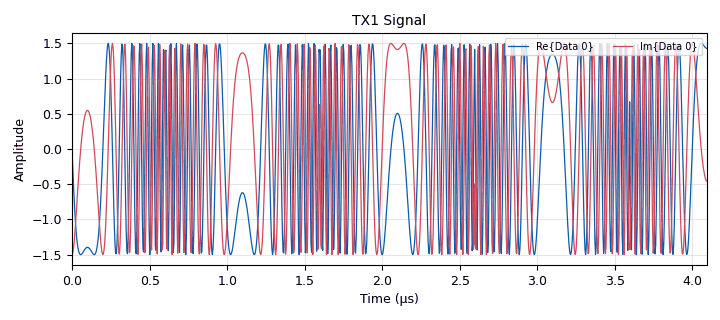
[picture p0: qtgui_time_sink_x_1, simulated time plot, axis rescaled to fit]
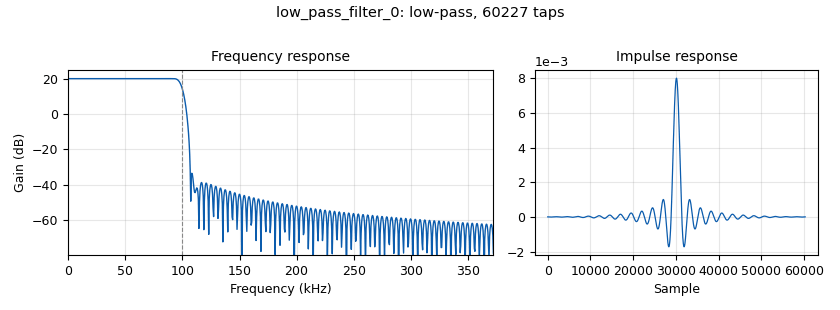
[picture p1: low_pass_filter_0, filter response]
options:
  parameters:
    author: haocheng
    generate_options: qt_gui
    id: FMCW_Sim
    output_language: python
    title: FMCW_Simulation
  states: {}

blocks:
- name: SweepTime
  id: variable
  parameters:
    comment: FMCW sweep time, frequency=1/sweeptime
    value: '1e-5'
  states: {}
- name: Sweeptime
  id: variable_qtgui_range
  parameters:
    label: Sweep Time (s)
    orient: Qt.Horizontal
    start: '1e-6'
    step: '1e-6'
    stop: '1e-2'
    value: '1e-6'
  states: {}
- name: USRP_frequency
  id: variable
  parameters:
    value: 4e9
  states: {}
- name: amplitude
  id: variable
  parameters:
    value: '1'
  states: {}
- name: bandwidth
  id: variable
  parameters:
    value: 125e6
  states: {}
- name: delay_samp
  id: variable_qtgui_range
  parameters:
    label: Delay Samples
    orient: Qt.Horizontal
    rangeType: int
    start: '0'
    step: '1'
    stop: '10000'
    value: '1000'
  states: {}
- name: rx_gain
  id: variable
  parameters:
    value: '40'
  states: {}
- name: samp_rate
  id: variable
  parameters:
    value: int(250e6)
  states: {}
- name: tx_gain
  id: variable
  parameters:
    value: '40'
  states: {}
- name: analog_sig_source_x_0
  id: analog_sig_source_x
  parameters:
    amp: amplitude
    freq: 1/Sweeptime
    offset: '-0.5'
    phase: '0'
    samp_rate: samp_rate
    type: float
    waveform: analog.GR_SAW_WAVE
  states: {}
- name: blocks_complex_to_real_0
  id: blocks_complex_to_real
  parameters: {}
  states: {state: disabled}
- name: blocks_complex_to_real_0_0
  id: blocks_complex_to_real
  parameters: {}
  states: {state: disabled}
- name: blocks_delay_0
  id: blocks_delay
  parameters:
    delay: delay_samp
    type: complex
  states: {}
- name: blocks_head_0
  id: blocks_head
  parameters:
    comment: N_head = T_capture * Fs
    num_items: int(25e6)
    type: complex
  states: {}
- name: blocks_multiply_conjugate_cc_0
  id: blocks_multiply_conjugate_cc
  parameters: {}
  states: {}
- name: blocks_multiply_xx_0
  id: blocks_multiply_xx
  parameters:
    type: float
  states: {state: disabled}
- name: blocks_skiphead_0
  id: blocks_skiphead
  parameters:
    comment: N_skip = T_stable * Fs
    num_items: int(2.5e6)
    type: complex
  states: {}
- name: blocks_vco_c_0
  id: blocks_vco_c
  parameters:
    amplitude: amplitude*1.5
    comment: |-
      sensitivity=(2pi*bandwidth)/voltage range
      V_max = signal Amplitude
      V_min = V_max - offset
    minoutbuf: '24000'
    samp_rate: samp_rate
    sensitivity: bandwidth*cmath.pi
  states: {}
- name: blocks_vco_f_0
  id: blocks_vco_f
  parameters:
    amplitude: '1'
    samp_rate: samp_rate
    sensitivity: bandwidth*cmath.pi
  states: {state: disabled}
- name: hilbert_fc_0
  id: hilbert_fc
  parameters:
    num_taps: '64'
    win: firdes.WIN_HAMMING
  states: {state: disabled}
- name: import_0_0
  id: import
  parameters:
    imports: import cmath
  states: {}
- name: low_pass_filter_0
  id: low_pass_filter
  parameters:
    beta: '6'
    comment: cutoff frequency = 2BR_max / c T_sweep
    cutoff_freq: 100e3
    decim: '2'
    gain: '10'
    samp_rate: samp_rate
    type: fir_filter_ccf
    width: 10e3
    win: firdes.WIN_HAMMING
  states: {}
- name: low_pass_filter_0_0
  id: low_pass_filter
  parameters:
    beta: '6'
    comment: cutoff frequency = 2BR_max / c T_sweep
    cutoff_freq: '100000'
    decim: '1'
    gain: '10'
    samp_rate: samp_rate
    type: fir_filter_fff
    width: '20000'
    win: firdes.WIN_HAMMING
  states: {state: disabled}
- name: qtgui_freq_sink_x_0
  id: qtgui_freq_sink_x
  parameters:
    autoscale: 'True'
    bw: bandwidth
    fc: '0'
    fftsize: 1024*8
    grid: 'True'
    name: '"FFT"'
    type: complex
    wintype: firdes.WIN_BLACKMAN_hARRIS
  states: {}
- name: qtgui_freq_sink_x_0_0
  id: qtgui_freq_sink_x
  parameters:
    autoscale: 'True'
    bw: bandwidth
    fc: '0'
    fftsize: 1024*4
    grid: 'True'
    name: '"FFT"'
    type: float
    wintype: firdes.WIN_BLACKMAN_hARRIS
  states: {state: disabled}
- name: qtgui_time_sink_x_0
  id: qtgui_time_sink_x
  parameters:
    autoscale: 'True'
    name: '"RX2 Signal"'
    size: '102400'
    srate: samp_rate
    type: complex
  states: {}
- name: qtgui_time_sink_x_0_0
  id: qtgui_time_sink_x
  parameters:
    autoscale: 'True'
    name: '"RX Signal"'
    size: '1024'
    srate: samp_rate
    type: complex
  states: {}
- name: qtgui_time_sink_x_0_1
  id: qtgui_time_sink_x
  parameters:
    autoscale: 'True'
    name: '"RX2 Signal"'
    size: '102400'
    srate: samp_rate
    type: float
  states: {state: disabled}
- name: qtgui_time_sink_x_1
  id: qtgui_time_sink_x
  parameters:
    name: '"TX1 Signal"'
    size: '1024'
    srate: samp_rate
    type: complex
  states: {}
- name: qtgui_time_sink_x_1_0
  id: qtgui_time_sink_x
  parameters:
    name: '"TX1 Signal"'
    size: '1024'
    srate: samp_rate
    type: complex
  states: {state: disabled}
- name: uhd_usrp_sink_1
  id: uhd_usrp_sink
  parameters:
    ant0: '"TX/RX"'
    bw0: bandwidth
    center_freq0: USRP_frequency
    clock_source0: external
    dev_addr: '"addr0=192.168.120.2, master_clock_rate=250e6"'
    gain0: tx_gain
    minoutbuf: '24000'
    norm_gain0: 'False'
    samp_rate: samp_rate
    sd_spec0: '"A:0"'
    sync: none
    time_source0: external
    type: fc32
  states: {}
- name: uhd_usrp_source_0_0
  id: uhd_usrp_source
  parameters:
    ant0: RX2
    bw0: bandwidth
    center_freq0: USRP_frequency
    clock_source0: external
    comment: |-
      uhd.tune_request(usrp_freq, rf_freq = usrp_freq - lo_offset, rf_freq_policy=uhd.tune_request.POLICY_MANUAL)
      recv_frame_size=65536,num_recv_frames=1024
    dc_offs_enb0: 'True'
    dev_addr: '"addr=192.168.120.2,master_clock_rate=250e6"'
    gain0: rx_gain
    iq_imbal_enb0: 'True'
    minoutbuf: '24000'
    norm_gain0: 'False'
    samp_rate: samp_rate
    sd_spec0: '"A:0"'
    sync: pc_clock
    time_source0: external
    type: fc32
  states: {}
- name: virtual_sink_0
  id: virtual_sink
  parameters:
    stream_id: Saw Tooth
  states: {}
- name: virtual_source_0
  id: virtual_source
  parameters:
    stream_id: Saw Tooth
  states: {state: disabled}

connections:
- [analog_sig_source_x_0, '0', blocks_vco_c_0, '0']
- [analog_sig_source_x_0, '0', virtual_sink_0, '0']
- [blocks_complex_to_real_0, '0', blocks_multiply_xx_0, '1']
- [blocks_complex_to_real_0_0, '0', blocks_multiply_xx_0, '0']
- [blocks_delay_0, '0', blocks_complex_to_real_0_0, '0']
- [blocks_delay_0, '0', blocks_multiply_conjugate_cc_0, '1']
- [blocks_head_0, '0', low_pass_filter_0, '0']
- [blocks_multiply_conjugate_cc_0, '0', blocks_skiphead_0, '0']
- [blocks_multiply_xx_0, '0', low_pass_filter_0_0, '0']
- [blocks_skiphead_0, '0', blocks_head_0, '0']
- [blocks_vco_c_0, '0', blocks_multiply_conjugate_cc_0, '0']
- [blocks_vco_c_0, '0', qtgui_time_sink_x_1, '0']
- [blocks_vco_c_0, '0', uhd_usrp_sink_1, '0']
- [blocks_vco_f_0, '0', hilbert_fc_0, '0']
- [hilbert_fc_0, '0', blocks_complex_to_real_0, '0']
- [hilbert_fc_0, '0', qtgui_time_sink_x_1_0, '0']
- [hilbert_fc_0, '0', uhd_usrp_sink_1, '0']
- [low_pass_filter_0, '0', qtgui_freq_sink_x_0, '0']
- [low_pass_filter_0, '0', qtgui_time_sink_x_0, '0']
- [low_pass_filter_0_0, '0', qtgui_freq_sink_x_0_0, '0']
- [low_pass_filter_0_0, '0', qtgui_time_sink_x_0_1, '0']
- [uhd_usrp_source_0_0, '0', blocks_delay_0, '0']
- [uhd_usrp_source_0_0, '0', qtgui_time_sink_x_0_0, '0']
- [virtual_source_0, '0', blocks_vco_f_0, '0']

metadata:
  file_format: 1
